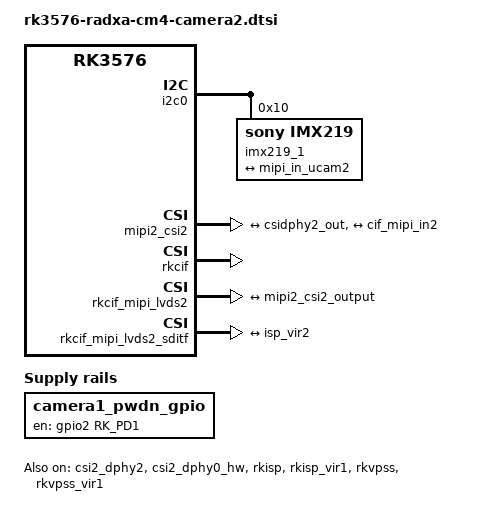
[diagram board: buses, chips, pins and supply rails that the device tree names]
// SPDX-License-Identifier: (GPL-2.0+ OR MIT)
/*
 * Copyright (c) 2024 Rockchip Electronics Co., Ltd.
 *
 */

/ {
	camera1_pwdn_gpio: camera1-pwdn-gpio {
		compatible = "regulator-fixed";
		regulator-name = "camera_pwdn_gpio";
		regulator-always-on;
		regulator-boot-on;
		enable-active-high;
		gpio = <&gpio2 RK_PD1 GPIO_ACTIVE_HIGH>;
		pinctrl-names = "default";
		pinctrl-0 = <&cam1_pwdn_gpio>;
	};
};

&csi2_dphy2 {
	status = "okay";

	ports {
		#address-cells = <1>;
		#size-cells = <0>;
		port@0 {
			reg = <0>;
			#address-cells = <1>;
			#size-cells = <0>;

			mipi_in_ucam2: endpoint@1 {
				reg = <1>;
				remote-endpoint = <&imx219_out1>;
				data-lanes = <1 2>;
			};
		};
		port@1 {
			reg = <1>;
			#address-cells = <1>;
			#size-cells = <0>;

			csidphy2_out: endpoint@0 {
				reg = <0>;
				remote-endpoint = <&mipi2_csi2_input>;
			};
		};
	};
};

&csi2_dphy0_hw {
	status = "okay";
};

// &csi2_dphy1_hw {
// 	status = "okay";
// };

&i2c0 {
	status = "okay";
	pinctrl-0 = <&i2c0m1_xfer>;

	imx219_1: imx219-1@10 {
		compatible = "sony,imx219";
		reg = <0x10>;

		clocks = <&cru CLK_MIPI_CAMERAOUT_M1>;
		clock-names = "xvclk";
		pinctrl-names = "default";
		pinctrl-0 = <&cam_clk1m0_clk1>;
		// power-domains = <&power RK3576_PD_VI>;
		// pwdn-gpios = <&gpio2 RK_PD1 GPIO_ACTIVE_HIGH>;
		
		rockchip,camera-module-index = <0>;
		rockchip,camera-module-facing = "front";
		rockchip,camera-module-name = "rpi-camera-v2";
		rockchip,camera-module-lens-name = "default";

		port {
			imx219_out1: endpoint {
				remote-endpoint = <&mipi_in_ucam2>;
				data-lanes = <1 2>;
			};
		};
	};
};

&mipi2_csi2 {
	status = "okay";

	ports {
		#address-cells = <1>;
		#size-cells = <0>;

		port@0 {
			reg = <0>;
			#address-cells = <1>;
			#size-cells = <0>;

			mipi2_csi2_input: endpoint@1 {
				reg = <1>;
				remote-endpoint = <&csidphy2_out>;
			};
		};

		port@1 {
			reg = <1>;
			#address-cells = <1>;
			#size-cells = <0>;

			mipi2_csi2_output: endpoint@0 {
				reg = <0>;
				remote-endpoint = <&cif_mipi_in2>;
			};
		};
	};
};

&rkcif {
	status = "okay";
};

&rkcif_mipi_lvds2 {
	status = "okay";

	port {
		cif_mipi_in2: endpoint {
			remote-endpoint = <&mipi2_csi2_output>;
		};
	};
};

&rkcif_mipi_lvds2_sditf {
	status = "okay";

	port {
		mipi2_lvds_sditf: endpoint {
			remote-endpoint = <&isp_vir2>;
		};
	};
};

&rkcif_mmu {
	status = "okay";
};

&rkisp {
	status = "okay";
};

&rkisp_mmu {
	status = "okay";
};

&rkisp_vir1 {
	status = "okay";

	port {
		#address-cells = <1>;
		#size-cells = <0>;

		isp_vir2: endpoint@0 {
			reg = <0>;
			remote-endpoint = <&mipi2_lvds_sditf>;
		};
	};
};

&rkvpss {
	status = "okay";
};

&rkvpss_mmu {
	status = "okay";
};

&rkvpss_vir1 {
	status = "okay";
};

&pinctrl {
	camera {
		cam1_pwdn_gpio: cam1-pwdn-gpio {
			rockchip,pins = <2 RK_PD1 RK_FUNC_GPIO &pcfg_pull_up>;
		};
	};
};
